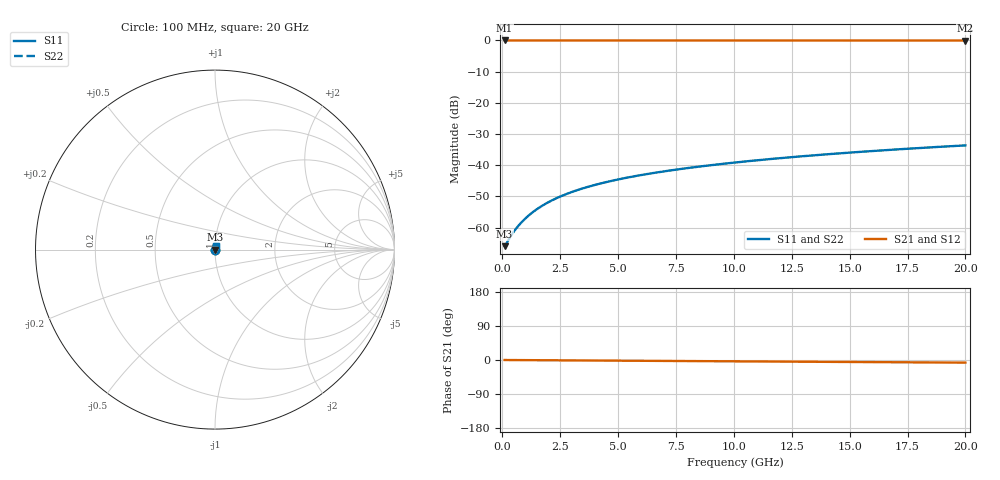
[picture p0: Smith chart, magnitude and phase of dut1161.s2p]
! Touchstone file exported from HFSS 2026.1.0
!  File:  C:/ffzhzh/LocalFiles/Ansys_Project_Files/temp_train_TSV_1161_1783191756_51560.aedt
!  Generated:  03:04:17 AM Jul  5, 2026
!  Design:  TSV
!  Project:  temp_train_TSV_1161_1783191756_51560
! Variables:
!  h_bsmrdl = 2um
!  h_ox = 20um
!  h_rdl = 5um
!  h_sub = 72um
!  h_tmrdl = 5um
!  h_tsv = 72um
!  h_via = 3um
!  l_bsmrdl = 300um
!  l_sub = 408.6um
!  l_tmrdl = 200um
!  m_sub = 200um
!  pitch = 22um
!  r_tsv = 4.3um
!  s_tmrdl = 10um
!  w_bsmrdl = 18um
!  w_sub = 500um
!  w_tmrdl = 12um
!  x_tsv_center1 = 206um
!  x_tsv_center2 = 524um
!  x_tsv_center3 = 736um
!  x_tsv_center4 = 1054um
!  x_tsv_center5 = 1266um
!  x_tsv_center6 = 1584um
# GHz S MA R 50.000000
! Terminal data exported
! Port[1] = TSV1_1_T1
! Port[2] = TSV1_1_T2
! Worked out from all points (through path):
!   200 points, 100 MHz to 20 GHz, reference 50 ohm
!   highest |S21| = 0.00 dB at 100 MHz (marker M1); lowest = 0.0 dB at 20 GHz (marker M2)
!   lowest |S11| = -66.0 dB at 100 MHz (marker M3), VSWR 1.00, Z = 50 + j0.0148 ohm
!   |S11| at or under -10 dB: start of sweep to end of sweep
!   |S22| runs from -66.0 to -33.7 dB; largest |S21 - S12| = 1.3e-15
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0.1  0.0005024 17.1  0.9995 -0.0  0.9995 -0.0  0.0005024 17.1
! Gamma 0 0 0 0
! Port Impedance 50 0 50 0
0.4  0.0007617 45.7  0.9995 -0.1  0.9995 -0.1  0.0007617 45.7
0.5  0.0008625 50.6  0.9995 -0.2  0.9995 -0.2  0.0008625 50.6
0.7  0.001072 57.8  0.9994 -0.3  0.9994 -0.3  0.001072 57.8
0.8  0.00118 60.5  0.9994 -0.3  0.9994 -0.3  0.00118 60.5
1  0.001402 64.5  0.9994 -0.4  0.9994 -0.4  0.001402 64.5
1.2  0.00163 67.5  0.9994 -0.4  0.9994 -0.4  0.00163 67.5
1.4  0.00186 69.6  0.9994 -0.5  0.9994 -0.5  0.00186 69.6
1.8  0.002326 72.5  0.9993 -0.6  0.9993 -0.6  0.002326 72.5
2.3  0.002907 74.5  0.9993 -0.8  0.9993 -0.8  0.002907 74.5
2.9  0.003596 75.8  0.9992 -1.0  0.9992 -1.0  0.003596 75.8
3.5  0.004272 76.5  0.9991 -1.2  0.9991 -1.2  0.004272 76.5
4.2  0.005042 77.0  0.999 -1.5  0.999 -1.5  0.005042 77.0
5  0.005901 77.3  0.9989 -1.8  0.9989 -1.8  0.005901 77.3
5.9  0.006844 77.5  0.9987 -2.1  0.9987 -2.1  0.006844 77.5
6.8  0.007769 77.6  0.9986 -2.4  0.9986 -2.4  0.007769 77.6
8.3  0.009284 77.7  0.9984 -2.9  0.9984 -2.9  0.009284 77.7
10.1  0.01108 77.8  0.9983 -3.5  0.9983 -3.5  0.01108 77.8
11.7  0.01266 77.8  0.9981 -4.1  0.9981 -4.1  0.01266 77.8
13.4  0.01433 77.7  0.998 -4.7  0.998 -4.7  0.01433 77.7
16.7  0.01756 77.2  0.9977 -5.8  0.9977 -5.8  0.01756 77.2
20  0.02075 76.6  0.9974 -6.9  0.9974 -6.9  0.02075 76.6
